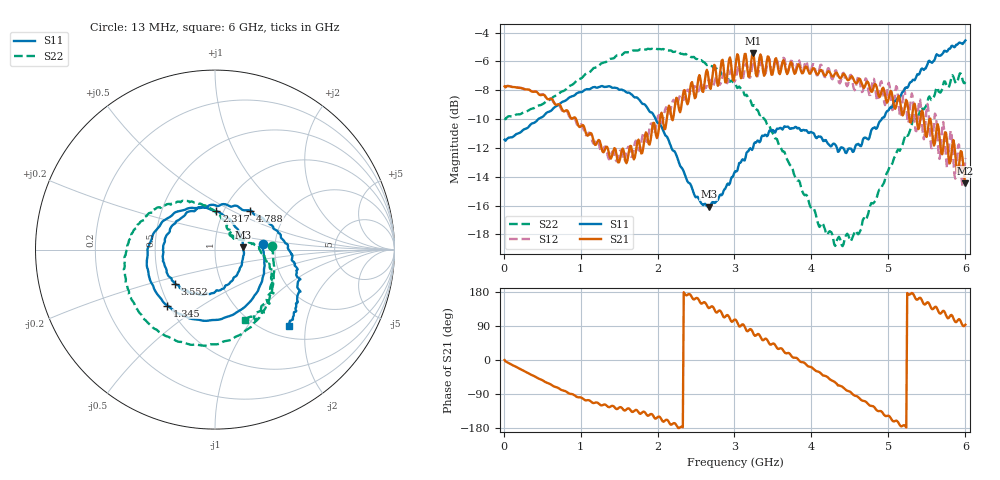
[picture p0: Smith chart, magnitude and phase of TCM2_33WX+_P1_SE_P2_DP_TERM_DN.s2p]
# GHZ S DB R 50.000000000000
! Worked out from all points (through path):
!   500 points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, 13 MHz to 6 GHz, reference 50 ohm
!   highest |S21| = -5.42 dB at 3.24 GHz (marker M1); lowest = -14.5 dB at 6 GHz (marker M2)
!   group delay of S21, straight-line fit = 291 ps
!   lowest |S11| = -16.1 dB at 2.665 GHz (marker M3), VSWR 1.37, Z = 68.5 + j1.8 ohm
!   |S11| at or under -10 dB: start of sweep to 451.2 MHz; 1.975 GHz to 4.913 GHz (2.938 GHz wide, 85.3 % of centre)
!   |S22| runs from -18.8 to -5.1 dB; largest |S21 - S12| = 0.079
!   S11 on the Smith chart (normalised r, x): 13 MHz: 1.72, +0.11; 1.345 GHz: 0.49, -0.37; 2.317 GHz: 0.93, +0.42; 3.552 GHz: 0.60, -0.25; 4.788 GHz: 1.32, +0.63; 6 GHz: 1.23, -1.61
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0.012998  -11.44 6.5  -7.73 -0.2  -7.72 -0.1  -9.94 3.7
0.516914  -9.80 -40.3  -8.31 -54.9  -8.29 -55.1  -8.93 -24.0
1.02083  -8.11 -92.5  -10.43 -100.6  -10.41 -101.9  -7.12 -54.1
1.344776  -7.75 -130.3  -11.93 -121.6  -12.35 -122.7  -5.97 -77.8
1.656724  -8.27 -169.8  -11.88 -134.7  -12.62 -132.4  -5.31 -102.4
2.016664  -10.29 139.4  -10.68 -149.2  -9.72 -154.0  -5.14 -131.6
2.316614  -13.40 87.8  -8.84 -175.8  -8.43 175.6  -5.47 -155.4
2.664556  -16.09 4.7  -7.27 137.1  -7.26 140.5  -6.20 177.4
3.012498  -13.61 -70.8  -6.39 106.7  -7.30 103.3  -7.54 151.0
3.24046  -12.00 -101.5  -5.42 72.0  -6.07 77.3  -9.09 134.5
3.552408  -10.66 -139.8  -6.04 31.6  -5.84 35.1  -11.40 107.8
3.828362  -10.62 -170.3  -6.20 1.3  -5.89 2.7  -14.26 82.4
4.008332  -10.93 166.8  -6.59 -20.2  -6.34 -19.6  -16.26 66.3
4.428262  -12.15 105.7  -6.89 -75.6  -6.99 -77.3  -18.41 32.3
4.788202  -10.68 48.1  -8.10 -121.3  -7.56 -116.3  -15.84 22.2
5.004166  -9.37 24.2  -8.56 -147.3  -7.48 -147.9  -13.48 9.1
5.208132  -7.95 4.8  -9.32 -172.2  -7.89 -175.8  -11.35 -4.6
5.52008  -5.98 -19.0  -10.42 151.5  -9.39 139.3  -8.52 -28.7
5.556074  -6.06 -20.3  -10.34 136.7  -12.01 139.4  -8.68 -30.2
5.604066  -5.83 -25.1  -11.66 139.9  -9.62 138.6  -8.26 -36.9
5.664056  -5.60 -27.2  -11.24 123.3  -12.77 130.3  -8.13 -38.7
6  -4.54 -46.1  -14.45 93.2  -12.70 99.9  -7.43 -66.6
